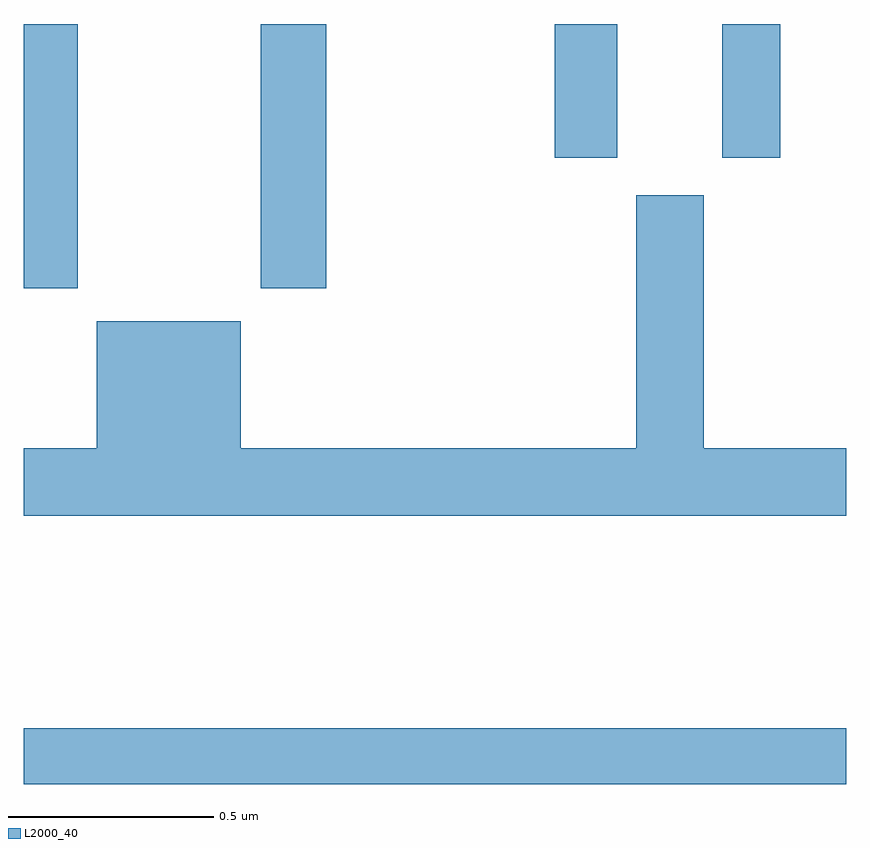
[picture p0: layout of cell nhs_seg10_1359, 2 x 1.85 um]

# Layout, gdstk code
import gdstk
lib = gdstk.Library(unit=1e-6, precision=1e-09)
def R(c, l, rs):  # rectangles x0, y0, x1, y1
    for r in rs: c.add(gdstk.rectangle(r[:2], r[2:], *l))
def P(c, l, *ps):  # polygons
    for p in ps: c.add(gdstk.Polygon(p, *l))
L2000_40 = (2000, 40)

nhs_seg10_1359 = lib.new_cell('nhs_seg10_1359')
R(nhs_seg10_1359, L2000_40, [(127,1311.652,129,1311.788), (127,1312.857,127.131,1313.5), (127.576,1312.857,127.736,1313.5), (128.291,1313.175,128.443,1313.5), (128.699,1313.175,128.839,1313.5)])
P(nhs_seg10_1359, L2000_40, [(129,1312.468),(128.653,1312.468),(128.653,1313.083),(128.489,1313.083),(128.489,1312.468),(127.528,1312.468),(127.528,1312.777),(127.178,1312.777),(127.178,1312.468),(127,1312.468),(127,1312.304),(129,1312.304)])

lib.write_gds('nhs_seg10_1359.gds')
